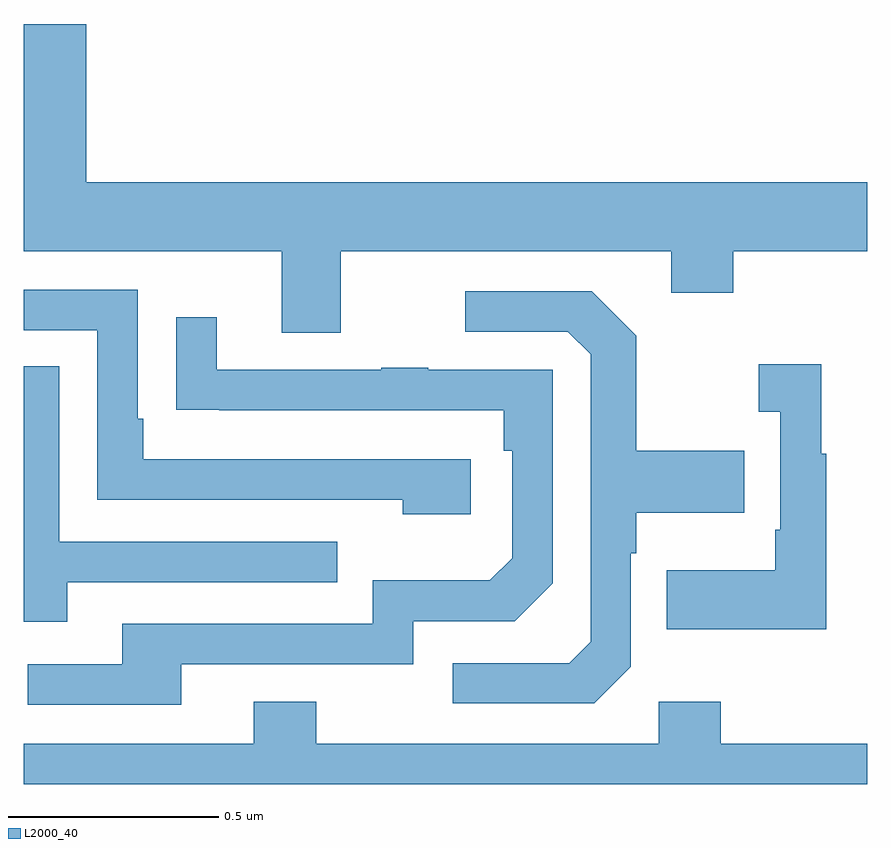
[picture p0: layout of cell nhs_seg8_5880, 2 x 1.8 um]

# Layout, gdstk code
import gdstk
lib = gdstk.Library(unit=1e-6, precision=1e-09)
def P(c, l, *ps):  # polygons
    for p in ps: c.add(gdstk.Polygon(p, *l))
L2000_40 = (2000, 40)

nhs_seg8_5880 = lib.new_cell('nhs_seg8_5880')
P(nhs_seg8_5880, L2000_40, [(189.751,1119.164),(190.535,1119.164),(190.535,1119.065),(190.683,1119.065),(190.683,1119.164),(191,1119.164),(191,1119.328),(189.148,1119.328),(189.148,1119.703),(189,1119.703),(189,1119.164),(189.611,1119.164),(189.611,1118.97),(189.751,1118.97)],
  [(190.06,1118.67),(189.283,1118.67),(189.283,1118.767),(189.27,1118.767),(189.27,1119.072),(189,1119.072),(189,1118.976),(189.174,1118.976),(189.174,1118.574),(189.899,1118.574),(189.899,1118.54),(190.06,1118.54)],
  [(190.44,1118.178),(190.44,1118.447),(190.453,1118.447),(190.453,1118.543),(190.709,1118.543),(190.709,1118.691),(190.453,1118.691),(190.453,1118.963),(190.347,1119.069),(190.047,1119.069),(190.047,1118.973),(190.29,1118.973),(190.344,1118.919),(190.344,1118.238),(190.293,1118.187),(190.017,1118.187),(190.017,1118.091),(190.353,1118.091)],
  [(189.373,1118.184),(189.924,1118.184),(189.924,1118.286),(190.164,1118.286),(190.254,1118.376),(190.254,1118.883),(189.959,1118.883),(189.959,1118.888),(189.847,1118.888),(189.847,1118.883),(189.457,1118.883),(189.457,1119.007),(189.361,1119.007),(189.361,1118.788),(189.463,1118.788),(189.463,1118.787),(190.138,1118.787),(190.138,1118.69),(190.158,1118.69),(190.158,1118.436),(190.105,1118.383),(189.828,1118.383),(189.828,1118.28),(189.233,1118.28),(189.233,1118.184),(189.009,1118.184),(189.009,1118.088),(189.373,1118.088)],
  [(190.903,1118.683),(190.891,1118.683),(190.891,1118.896),(190.743,1118.896),(190.743,1118.783),(190.794,1118.783),(190.794,1118.503),(190.782,1118.503),(190.782,1118.407),(190.525,1118.407),(190.525,1118.267),(190.903,1118.267)],
  [(189.103,1118.379),(189.743,1118.379),(189.743,1118.475),(189.084,1118.475),(189.084,1118.891),(189,1118.891),(189,1118.285),(189.103,1118.285)],
  [(191,1117.996),(190.653,1117.996),(190.653,1118.095),(190.506,1118.095),(190.506,1117.996),(189.693,1117.996),(189.693,1118.095),(189.545,1118.095),(189.545,1117.996),(189,1117.996),(189,1117.9),(191,1117.9)])

lib.write_gds('nhs_seg8_5880.gds')
